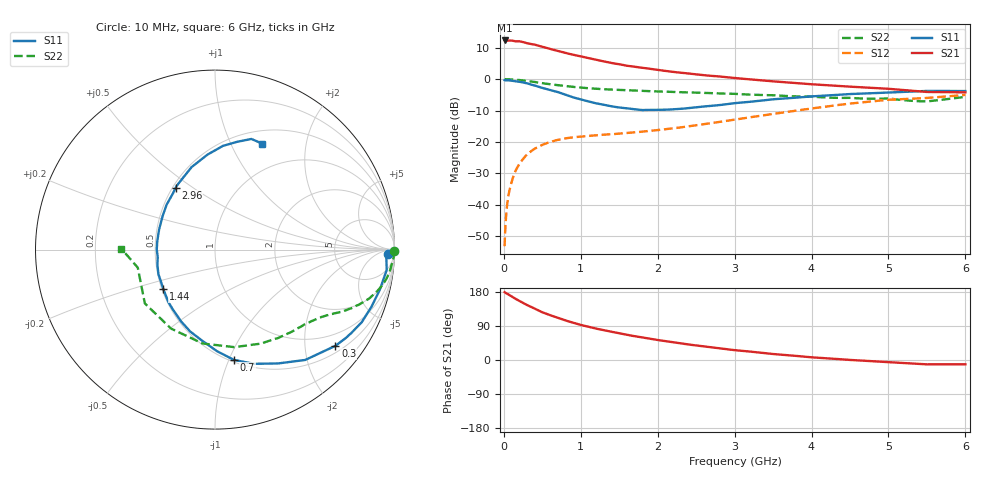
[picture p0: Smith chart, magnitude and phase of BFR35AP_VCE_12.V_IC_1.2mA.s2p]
! Infineon Technologies  Discrete & RF Semiconductors
! BFR35AP
! VCE =  12. V,  IC =  1.2 mA
! Common Emitter S-Parameters:  Nov 2015
# GHz  S  MA  R  50
!  f  S11  S21  S12  S22
! GHz  MAG  ANG  MAG  ANG  MAG  ANG  MAG  ANG
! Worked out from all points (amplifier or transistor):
!   210 points, 10 MHz to 6 GHz, reference 50 ohm
!   highest |S21| = 12.3 dB at 10 MHz (marker M1)
!   |S21| within 3 dB of that: start of sweep to 648.9 MHz
!   unconditionally stable (mu >= 1): 1.407 GHz to 3.339 GHz
!   at 185 MHz: K = 0.17, MSG = 19.9 dB, |S12| = -27.7 dB
!   at 1.52 GHz: K = 1.04, MAG = 9.7 dB, |S12| = -17.3 dB
!   at 6 GHz: K = 0.95, MSG = 0.4 dB, |S12| = -5.0 dB
!   S11 on the Smith chart (normalised r, x): 10 MHz: 39, -23; 300 MHz: 0.66, -2.71; 700 MHz: 0.52, -1.04; 1.44 GHz: 0.51, -0.26; 2.96 GHz: 0.52, +0.43; 6 GHz: 0.65, +1.33
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0.01  0.9628 -1.3  4.123 179.0  0.0022 83.3  0.9999 -0.4
0.02  0.9556 -2.6  4.016 177.4  0.0044 83.7  0.9963 -1.0
0.04  0.9602 -5.4  4.083 175.2  0.0094 85.6  0.9961 -2.0
0.085  0.9491 -11.6  4.115 170.0  0.0195 83.0  0.9897 -4.3
0.14  0.9305 -18.8  4.021 163.0  0.0321 78.2  0.9814 -7.1
0.2  0.9121 -26.4  4.003 156.1  0.0443 74.1  0.9675 -9.9
0.3  0.859 -38.6  3.733 145.2  0.0631 67.2  0.9355 -14.1
0.4  0.7944 -50.7  3.543 135.7  0.0781 61.0  0.9014 -17.6
0.5  0.7252 -61.0  3.282 125.9  0.09 56.1  0.8613 -20.7
0.7  0.6238 -80.2  2.814 111.2  0.1079 48.8  0.8023 -25.0
0.9  0.5137 -97.8  2.448 98.1  0.1189 44.4  0.7527 -28.2
1.02  0.4694 -108.4  2.274 91.7  0.1221 42.9  0.7294 -29.9
1.2  0.4119 -124.0  2.032 82.8  0.1278 41.7  0.7026 -32.3
1.44  0.3624 -142.4  1.772 72.9  0.134 41.7  0.6779 -35.4
1.7  0.3323 -165.0  1.578 62.8  0.142 43.3  0.6558 -38.8
2.02  0.3251 171.5  1.393 52.2  0.1556 46.2  0.6356 -43.5
2.96  0.4082 122.5  1.054 27.0  0.2227 51.4  0.5845 -62.9
3.1  0.4245 117.7  1.016 24.2  0.2366 51.1  0.5743 -66.7
4.1  0.5395 92.6  0.814 5.8  0.3541 44.6  0.5171 -101.6
5.1  0.6187 77.2  0.686 -7.0  0.4752 29.4  0.476 -146.9
5.5  0.6489 71.8  0.625 -11.5  0.502 21.7  0.4419 -166.9
6  0.6466 65.9  0.616 -11.3  0.5603 16.6  0.5219 179.4
